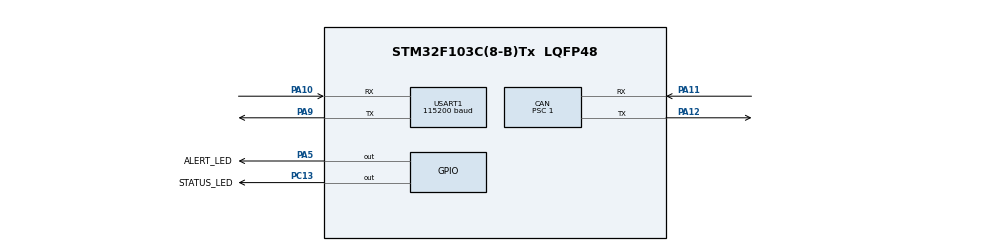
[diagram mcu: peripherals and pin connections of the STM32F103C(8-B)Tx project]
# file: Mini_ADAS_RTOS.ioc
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CAN.ABOM=ENABLE
CAN.BS1=CAN_BS1_13TQ
CAN.BS2=CAN_BS2_2TQ
CAN.CalculateBaudRate=500000
CAN.CalculateTimeBit=2000
CAN.CalculateTimeQuantum=125.0
CAN.Mode=CAN_MODE_SILENT_LOOPBACK
CAN.NART=ENABLE
CAN.Prescaler=1
FREERTOS.Tasks01=SensorTask,24,256,StartSensorTask,Default,NULL,Dynamic,NULL,NULL;DecisionTask,32,256,StartDecisionTask,Default,NULL,Dynamic,NULL,NULL;AlertTask,24,256,StartAlertTask,Default,NULL,Dynamic,NULL,NULL;CAN_TxTask,24,256,StartCAN_TxTask,Default,NULL,Dynamic,NULL,NULL;CAN_RxTask,24,256,StartCAN_RxTask,Default,NULL,Dynamic,NULL,NULL;LoggerTask,8,256,StartLoggerTask,Default,NULL,Dynamic,NULL,NULL;HealthMonitorTask,40,256,StartHealthMonitorTask,Default,NULL,Dynamic,NULL,NULL
FREERTOS.configCHECK_FOR_STACK_OVERFLOW=2
FREERTOS.configTOTAL_HEAP_SIZE=12288
FREERTOS.configUSE_MALLOC_FAILED_HOOK=1
Mcu.Family=STM32F1
Mcu.Name=STM32F103C(8-B)Tx
Mcu.Package=LQFP48
NVIC.PriorityGroup=NVIC_PRIORITYGROUP_4
NVIC.USB_LP_CAN1_RX0_IRQn=true\:5\:0\:false\:false\:true\:true\:true\:true\:true
PA10.Mode=Asynchronous
PA10.Signal=USART1_RX
PA11.Mode=CAN_Activate
PA11.Signal=CAN_RX
PA12.Mode=CAN_Activate
PA12.Signal=CAN_TX
PA13.Mode=Serial_Wire
PA13.Signal=SYS_JTMS-SWDIO
PA14.Mode=Serial_Wire
PA14.Signal=SYS_JTCK-SWCLK
PA5.GPIO_Label=ALERT_LED
PA5.Signal=GPIO_Output
PA9.Mode=Asynchronous
PA9.Signal=USART1_TX
PC13-TAMPER-RTC.GPIO_Label=STATUS_LED
PC13-TAMPER-RTC.PinState=GPIO_PIN_SET
PC13-TAMPER-RTC.Signal=GPIO_Output
ProjectManager.HeapSize=0x200
ProjectManager.StackSize=0x400
ProjectManager.TargetToolchain=STM32CubeIDE
RCC.APB1Freq_Value=8000000
RCC.APB2Freq_Value=8000000
USART1.BaudRate=115200
USART1.VirtualMode=VM_ASYNC
VP_FREERTOS_VS_CMSIS_V2.Mode=CMSIS_V2
board=custom

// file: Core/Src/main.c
/* USER CODE BEGIN Header */
/**
  ******************************************************************************
  * @file           : main.c
  * @brief          : Main program body
  ******************************************************************************
  * @attention
  *
  * Copyright (c) 2026 STMicroelectronics.
  * All rights reserved.
  *
  * This software is licensed under terms that can be found in the LICENSE file
  * in the root directory of this software component.
  * If no LICENSE file comes with this software, it is provided AS-IS.
  *
  ******************************************************************************
  *
  * Mini ADAS: all application logic lives in app_*.c / adas_*.c. This file
  * only contains CubeMX-generated init code plus calls placed inside
  * USER CODE sections, so it survives "Generate Code" in CubeMX.
  *
  ******************************************************************************
  */
/* USER CODE END Header */
#include "main.h"
#include "cmsis_os.h"

/* USER CODE BEGIN Includes */
#include "app.h"
/* USER CODE END Includes */

CAN_HandleTypeDef hcan;

UART_HandleTypeDef huart1;

/* Definitions for SensorTask */
osThreadId_t SensorTaskHandle;
const osThreadAttr_t SensorTask_attributes = {
  .name = "SensorTask",
  .stack_size = 256 * 4,
  .priority = (osPriority_t) osPriorityNormal,
};
/* Definitions for DecisionTask */
osThreadId_t DecisionTaskHandle;
const osThreadAttr_t DecisionTask_attributes = {
  .name = "DecisionTask",
  .stack_size = 256 * 4,
  .priority = (osPriority_t) osPriorityAboveNormal,
};
/* Definitions for AlertTask */
osThreadId_t AlertTaskHandle;
const osThreadAttr_t AlertTask_attributes = {
  .name = "AlertTask",
  .stack_size = 256 * 4,
  .priority = (osPriority_t) osPriorityNormal,
};
/* Definitions for CAN_TxTask */
osThreadId_t CAN_TxTaskHandle;
const osThreadAttr_t CAN_TxTask_attributes = {
  .name = "CAN_TxTask",
  .stack_size = 256 * 4,
  .priority = (osPriority_t) osPriorityNormal,
};
/* Definitions for CAN_RxTask */
osThreadId_t CAN_RxTaskHandle;
const osThreadAttr_t CAN_RxTask_attributes = {
  .name = "CAN_RxTask",
  .stack_size = 256 * 4,
  .priority = (osPriority_t) osPriorityNormal,
};
/* Definitions for LoggerTask */
osThreadId_t LoggerTaskHandle;
const osThreadAttr_t LoggerTask_attributes = {
  .name = "LoggerTask",
  .stack_size = 256 * 4,
  .priority = (osPriority_t) osPriorityLow,
};
/* Definitions for HealthMonitorTask */
osThreadId_t HealthMonitorTaskHandle;
const osThreadAttr_t HealthMonitorTask_attributes = {
  .name = "HealthMonitorTask",
  .stack_size = 256 * 4,
  .priority = (osPriority_t) osPriorityHigh,
};

void SystemClock_Config(void);
static void MX_GPIO_Init(void);
static void MX_USART1_UART_Init(void);
static void MX_CAN_Init(void);
void StartSensorTask(void *argument);
void StartDecisionTask(void *argument);
void StartAlertTask(void *argument);
void StartCAN_TxTask(void *argument);
void StartCAN_RxTask(void *argument);
void StartLoggerTask(void *argument);
void StartHealthMonitorTask(void *argument);

int main(void)
{

  /* MCU Configuration--------------------------------------------------------*/

  /* Reset of all peripherals, Initializes the Flash interface and the Systick. */
  HAL_Init();

  /* Configure the system clock */
  SystemClock_Config();

  /* Initialize all configured peripherals */
  MX_GPIO_Init();
  MX_USART1_UART_Init();
  MX_CAN_Init();
  /* USER CODE BEGIN 2 */
  /* IMPORTANT: everything that relies on HAL_GetTick() must run here, BEFORE
   * the first FreeRTOS object is created. Creating a queue/thread masks
   * interrupts (incl. SysTick) until osKernelStart(). */
  App_PrintBootBanner();
  if (AppCan_Start() != HAL_OK)
  {
    AppLog_Printf("FATAL: CAN start failed");
    Error_Handler();
  }
  /* USER CODE END 2 */

  /* Init scheduler */
  osKernelInitialize();

  /* USER CODE BEGIN RTOS_QUEUES */
  App_CreateRtosObjects();
  /* USER CODE END RTOS_QUEUES */

  /* Create the thread(s) */
  /* creation of SensorTask */
  SensorTaskHandle = osThreadNew(StartSensorTask, NULL, &SensorTask_attributes);

  /* creation of DecisionTask */
  DecisionTaskHandle = osThreadNew(StartDecisionTask, NULL, &DecisionTask_attributes);

  /* creation of AlertTask */
  AlertTaskHandle = osThreadNew(StartAlertTask, NULL, &AlertTask_attributes);

  /* creation of CAN_TxTask */
  CAN_TxTaskHandle = osThreadNew(StartCAN_TxTask, NULL, &CAN_TxTask_attributes);

  /* creation of CAN_RxTask */
  CAN_RxTaskHandle = osThreadNew(StartCAN_RxTask, NULL, &CAN_RxTask_attributes);

  /* creation of LoggerTask */
  LoggerTaskHandle = osThreadNew(StartLoggerTask, NULL, &LoggerTask_attributes);

  /* creation of HealthMonitorTask */
  HealthMonitorTaskHandle = osThreadNew(StartHealthMonitorTask, NULL, &HealthMonitorTask_attributes);

  /* USER CODE BEGIN RTOS_THREADS */
  /* A NULL handle means the FreeRTOS heap is too small: stop here instead of
   * running with missing tasks (this silently happened before). */
  if ((SensorTaskHandle == NULL) || (DecisionTaskHandle == NULL) ||
      (AlertTaskHandle == NULL) || (CAN_TxTaskHandle == NULL) ||
      (CAN_RxTaskHandle == NULL) || (LoggerTaskHandle == NULL) ||
      (HealthMonitorTaskHandle == NULL))
  {
    Error_Handler();
  }
  /* USER CODE END RTOS_THREADS */

  /* Start scheduler */
  osKernelStart();

  /* We should never get here as control is now taken by the scheduler */

  /* Infinite loop */
  while (1)
  {

  }
}

void SystemClock_Config(void)
{
  RCC_OscInitTypeDef RCC_OscInitStruct = {0};
  RCC_ClkInitTypeDef RCC_ClkInitStruct = {0};

  /** Initializes the RCC Oscillators according to the specified parameters
  * in the RCC_OscInitTypeDef structure.
  */
  RCC_OscInitStruct.OscillatorType = RCC_OSCILLATORTYPE_HSI;
  RCC_OscInitStruct.HSIState = RCC_HSI_ON;
  RCC_OscInitStruct.HSICalibrationValue = RCC_HSICALIBRATION_DEFAULT;
  RCC_OscInitStruct.PLL.PLLState = RCC_PLL_NONE;
  if (HAL_RCC_OscConfig(&RCC_OscInitStruct) != HAL_OK)
  {
    Error_Handler();
  }

  /** Initializes the CPU, AHB and APB buses clocks
  */
  RCC_ClkInitStruct.ClockType = RCC_CLOCKTYPE_HCLK|RCC_CLOCKTYPE_SYSCLK
                              |RCC_CLOCKTYPE_PCLK1|RCC_CLOCKTYPE_PCLK2;
  RCC_ClkInitStruct.SYSCLKSource = RCC_SYSCLKSOURCE_HSI;
  RCC_ClkInitStruct.AHBCLKDivider = RCC_SYSCLK_DIV1;
  RCC_ClkInitStruct.APB1CLKDivider = RCC_HCLK_DIV1;
  RCC_ClkInitStruct.APB2CLKDivider = RCC_HCLK_DIV1;

  if (HAL_RCC_ClockConfig(&RCC_ClkInitStruct, FLASH_LATENCY_0) != HAL_OK)
  {
    Error_Handler();
  }
}

static void MX_CAN_Init(void)
{

  /* USER CODE BEGIN CAN_Init 0 */
  /* Bit timing @ APB1 = 8 MHz:
   *   tq = Prescaler / 8 MHz = 125 ns
   *   bit = 1 (sync) + 13 (BS1) + 2 (BS2) = 16 tq = 2 us  -> 500 kbit/s
   *   sample point = (1 + 13) / 16 = 87.5 % (CiA recommendation)
   * Silent loopback: self-test without transceiver. For a real bus set
   * Mode = Normal in CubeMX and fit a CAN transceiver on PA11/PA12. */
  /* USER CODE END CAN_Init 0 */

  hcan.Instance = CAN1;
  hcan.Init.Prescaler = 1;
  hcan.Init.Mode = CAN_MODE_SILENT_LOOPBACK;
  hcan.Init.SyncJumpWidth = CAN_SJW_1TQ;
  hcan.Init.TimeSeg1 = CAN_BS1_13TQ;
  hcan.Init.TimeSeg2 = CAN_BS2_2TQ;
  hcan.Init.TimeTriggeredMode = DISABLE;
  hcan.Init.AutoBusOff = ENABLE;
  hcan.Init.AutoWakeUp = DISABLE;
  hcan.Init.AutoRetransmission = ENABLE;
  hcan.Init.ReceiveFifoLocked = DISABLE;
  hcan.Init.TransmitFifoPriority = DISABLE;
  if (HAL_CAN_Init(&hcan) != HAL_OK)
  {
    Error_Handler();
  }

}

static void MX_USART1_UART_Init(void)
{

  huart1.Instance = USART1;
  huart1.Init.BaudRate = 115200;
  huart1.Init.WordLength = UART_WORDLENGTH_8B;
  huart1.Init.StopBits = UART_STOPBITS_1;
  huart1.Init.Parity = UART_PARITY_NONE;
  huart1.Init.Mode = UART_MODE_TX_RX;
  huart1.Init.HwFlowCtl = UART_HWCONTROL_NONE;
  huart1.Init.OverSampling = UART_OVERSAMPLING_16;
  if (HAL_UART_Init(&huart1) != HAL_OK)
  {
    Error_Handler();
  }

}

static void MX_GPIO_Init(void)
{
  GPIO_InitTypeDef GPIO_InitStruct = {0};

  /* GPIO Ports Clock Enable */
  __HAL_RCC_GPIOC_CLK_ENABLE();
  __HAL_RCC_GPIOA_CLK_ENABLE();

  /*Configure GPIO pin Output Level */
  HAL_GPIO_WritePin(STATUS_LED_GPIO_Port, STATUS_LED_Pin, GPIO_PIN_SET);

  /*Configure GPIO pin Output Level */
  HAL_GPIO_WritePin(ALERT_LED_GPIO_Port, ALERT_LED_Pin, GPIO_PIN_RESET);

  /*Configure GPIO pin : STATUS_LED_Pin */
  GPIO_InitStruct.Pin = STATUS_LED_Pin;
  GPIO_InitStruct.Mode = GPIO_MODE_OUTPUT_PP;
  GPIO_InitStruct.Pull = GPIO_NOPULL;
  GPIO_InitStruct.Speed = GPIO_SPEED_FREQ_LOW;
  HAL_GPIO_Init(STATUS_LED_GPIO_Port, &GPIO_InitStruct);

  /*Configure GPIO pin : ALERT_LED_Pin */
  GPIO_InitStruct.Pin = ALERT_LED_Pin;
  GPIO_InitStruct.Mode = GPIO_MODE_OUTPUT_PP;
  GPIO_InitStruct.Pull = GPIO_NOPULL;
  GPIO_InitStruct.Speed = GPIO_SPEED_FREQ_LOW;
  HAL_GPIO_Init(ALERT_LED_GPIO_Port, &GPIO_InitStruct);

}

void StartSensorTask(void *argument)
{
  /* USER CODE BEGIN 5 */
  (void)argument;
  AppTask_Sensor();
  /* Infinite loop */
  for(;;)
  {
    osDelay(1);
  }
  /* USER CODE END 5 */
}

void StartDecisionTask(void *argument)
{
  /* USER CODE BEGIN StartDecisionTask */
  (void)argument;
  AppTask_Decision();
  /* Infinite loop */
  for(;;)
  {
    osDelay(1);
  }
  /* USER CODE END StartDecisionTask */
}

void StartAlertTask(void *argument)
{
  /* USER CODE BEGIN StartAlertTask */
  (void)argument;
  AppTask_Alert();
  /* Infinite loop */
  for(;;)
  {
    osDelay(1);
  }
  /* USER CODE END StartAlertTask */
}

void StartCAN_TxTask(void *argument)
{
  /* USER CODE BEGIN StartCAN_TxTask */
  (void)argument;
  AppTask_CanTx();
  /* Infinite loop */
  for(;;)
  {
    osDelay(1);
  }
  /* USER CODE END StartCAN_TxTask */
}

void StartCAN_RxTask(void *argument)
{
  /* USER CODE BEGIN StartCAN_RxTask */
  (void)argument;
  AppTask_CanRx();
  /* Infinite loop */
  for(;;)
  {
    osDelay(1);
  }
  /* USER CODE END StartCAN_RxTask */
}

void StartLoggerTask(void *argument)
{
  /* USER CODE BEGIN StartLoggerTask */
  (void)argument;
  AppTask_Logger();
  /* Infinite loop */
  for(;;)
  {
    osDelay(1);
  }
  /* USER CODE END StartLoggerTask */
}

void StartHealthMonitorTask(void *argument)
{
  /* USER CODE BEGIN StartHealthMonitorTask */
  (void)argument;
  AppTask_HealthMonitor();
  /* Infinite loop */
  for(;;)
  {
    osDelay(1);
  }
  /* USER CODE END StartHealthMonitorTask */
}

void Error_Handler(void)
{
  /* USER CODE BEGIN Error_Handler_Debug */
  /* User can add his own implementation to report the HAL error return state */
  __disable_irq();
  APP_DEBUG_BREAK();   /* debugger attached: halts here, check the call stack */

  /* No debugger: fast-blink the on-board LED (PC13) forever. */
  while (1)
  {
    volatile uint32_t delay;
    HAL_GPIO_TogglePin(STATUS_LED_GPIO_Port, STATUS_LED_Pin);
    for (delay = 0U; delay < 100000U; delay++)
    {
    }
  }
  /* USER CODE END Error_Handler_Debug */
}
#ifdef USE_FULL_ASSERT
/**
  * @brief  Reports the name of the source file and the source line number
  *         where the assert_param error has occurred.
  * @param  file: pointer to the source file name
  * @param  line: assert_param error line source number
  * @retval None
  */
void assert_failed(uint8_t *file, uint32_t line)
{
  /* USER CODE BEGIN 6 */
  /* User can add his own implementation to report the file name and line number,
     ex: printf("Wrong parameters value: file %s on line %d\r\n", file, line) */
  (void)file;
  (void)line;
  APP_DEBUG_BREAK();
  /* USER CODE END 6 */
}
#endif /* USE_FULL_ASSERT */

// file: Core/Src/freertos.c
/* USER CODE BEGIN Header */
/**
  ******************************************************************************
  * File Name          : freertos.c
  * Description        : Code for freertos applications
  ******************************************************************************
  * @attention
  *
  * Copyright (c) 2026 STMicroelectronics.
  * All rights reserved.
  *
  * This software is licensed under terms that can be found in the LICENSE file
  * in the root directory of this software component.
  * If no LICENSE file comes with this software, it is provided AS-IS.
  *
  ******************************************************************************
  */
/* USER CODE END Header */

#include "FreeRTOS.h"
#include "task.h"
#include "main.h"

/* Hook prototypes */
void vApplicationStackOverflowHook(xTaskHandle xTask, signed char *pcTaskName);
void vApplicationMallocFailedHook(void);

/* USER CODE BEGIN 4 */
/* Name of the task that overflowed its stack - visible in the debugger's
 * Expressions/Live Expressions view after a halt. */
volatile const char *g_stack_overflow_task = NULL;

void vApplicationStackOverflowHook(xTaskHandle xTask, signed char *pcTaskName)
{
   /* Run time stack overflow checking is performed if
   configCHECK_FOR_STACK_OVERFLOW is defined to 1 or 2. This hook function is
   called if a stack overflow is detected. */
   (void)xTask;
   g_stack_overflow_task = (const char *)pcTaskName;
   Error_Handler();
}
/* USER CODE END 4 */

/* USER CODE BEGIN 5 */
void vApplicationMallocFailedHook(void)
{
   /* vApplicationMallocFailedHook() will only be called if
   configUSE_MALLOC_FAILED_HOOK is set to 1 in FreeRTOSConfig.h. It is a hook
   function that will get called if a call to pvPortMalloc() fails.
   pvPortMalloc() is called internally by the kernel whenever a task, queue,
   timer or semaphore is created. Increase configTOTAL_HEAP_SIZE if this fires. */
   Error_Handler();
}
/* USER CODE END 5 */
